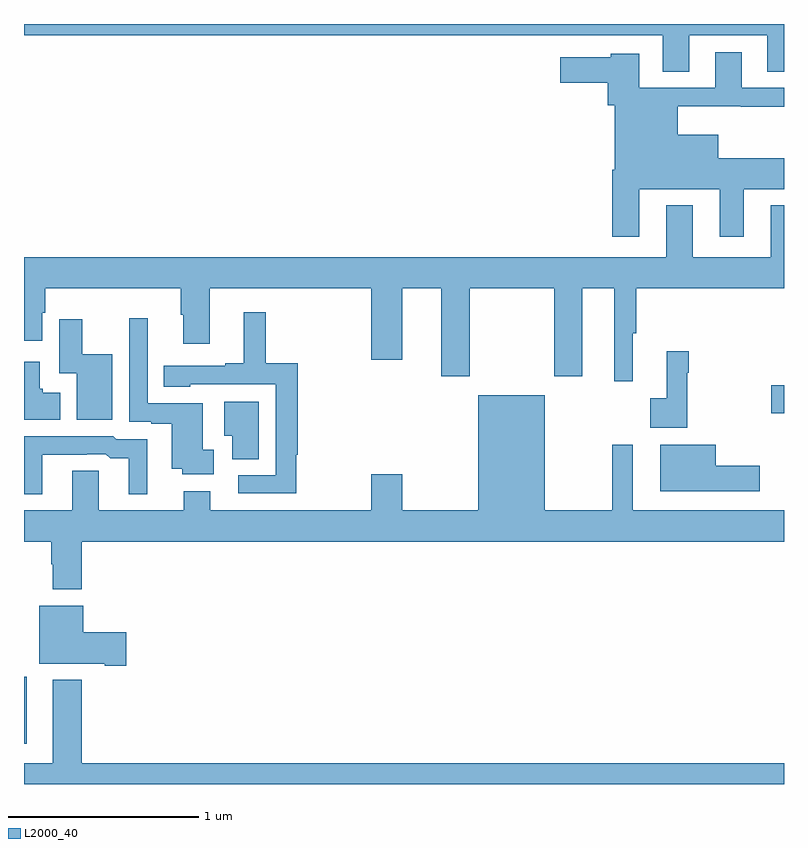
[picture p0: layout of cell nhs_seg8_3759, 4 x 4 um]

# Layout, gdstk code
import gdstk
lib = gdstk.Library(unit=1e-6, precision=1e-09)
def R(c, l, rs):  # rectangles x0, y0, x1, y1
    for r in rs: c.add(gdstk.rectangle(r[:2], r[2:], *l))
def P(c, l, *ps):  # polygons
    for p in ps: c.add(gdstk.Polygon(p, *l))
L2000_40 = (2000, 40)

nhs_seg8_3759 = lib.new_cell('nhs_seg8_3759')
R(nhs_seg8_3759, L2000_40, [(343,1106.112,343.015,1106.464), (346.932,1107.851,347,1107.998)])
P(nhs_seg8_3759, L2000_40, [(346.501,1109.84),(346.913,1109.84),(346.913,1109.65),(347,1109.65),(347,1109.9),(343,1109.9),(343,1109.84),(346.361,1109.84),(346.361,1109.65),(346.501,1109.65)],
  [(346.237,1109.03),(346.661,1109.03),(346.661,1108.779),(346.789,1108.779),(346.789,1109.03),(347,1109.03),(347,1109.194),(346.654,1109.194),(346.654,1109.317),(346.441,1109.317),(346.441,1109.468),(346.773,1109.468),(346.773,1109.464),(347,1109.464),(347,1109.565),(346.777,1109.565),(346.777,1109.752),(346.637,1109.752),(346.637,1109.565),(346.237,1109.565),(346.237,1109.743),(346.089,1109.743),(346.089,1109.725),(345.822,1109.725),(345.822,1109.591),(346.073,1109.591),(346.073,1109.472),(346.109,1109.472),(346.109,1109.134),(346.097,1109.134),(346.097,1108.779),(346.237,1108.779)],
  [(346.205,1108.272),(346.223,1108.272),(346.223,1108.508),(347,1108.508),(347,1108.945),(346.931,1108.945),(346.931,1108.672),(346.519,1108.672),(346.519,1108.945),(346.379,1108.945),(346.379,1108.672),(343,1108.672),(343,1108.233),(343.095,1108.233),(343.095,1108.379),(343.111,1108.379),(343.111,1108.508),(343.826,1108.508),(343.826,1108.371),(343.838,1108.371),(343.838,1108.218),(343.978,1108.218),(343.978,1108.508),(344.828,1108.508),(344.828,1108.134),(344.992,1108.134),(344.992,1108.508),(345.197,1108.508),(345.197,1108.047),(345.345,1108.047),(345.345,1108.508),(345.79,1108.508),(345.79,1108.047),(345.937,1108.047),(345.937,1108.508),(346.106,1108.508),(346.106,1108.02),(346.205,1108.02)],
  [(344.434,1107.632),(344.441,1107.632),(344.441,1108.114),(344.273,1108.114),(344.273,1108.384),(344.156,1108.384),(344.156,1108.114),(344.06,1108.114),(344.06,1108.101),(343.735,1108.101),(343.735,1107.992),(343.875,1107.992),(343.875,1108.005),(344.325,1108.005),(344.325,1107.525),(344.127,1107.525),(344.127,1107.429),(344.434,1107.429)],
  [(343.999,1107.66),(343.942,1107.66),(343.942,1107.903),(343.65,1107.903),(343.65,1108.351),(343.554,1108.351),(343.554,1107.807),(343.67,1107.807),(343.67,1107.795),(343.778,1107.795),(343.778,1107.56),(343.832,1107.56),(343.832,1107.53),(343.999,1107.53)],
  [(343.465,1108.162),(343.306,1108.162),(343.306,1108.345),(343.185,1108.345),(343.185,1108.061),(343.277,1108.061),(343.277,1107.818),(343.465,1107.818)],
  [(346.492,1108.064),(346.499,1108.064),(346.499,1108.177),(346.382,1108.177),(346.382,1107.929),(346.296,1107.929),(346.296,1107.776),(346.492,1107.776)],
  [(343.192,1107.958),(343.098,1107.958),(343.098,1107.981),(343.084,1107.981),(343.084,1108.123),(343,1108.123),(343,1107.818),(343.192,1107.818)],
  [(343,1107.176),(343.144,1107.176),(343.144,1107.056),(343.151,1107.056),(343.151,1106.924),(343.304,1106.924),(343.304,1107.176),(347,1107.176),(347,1107.34),(346.204,1107.34),(346.204,1107.685),(346.095,1107.685),(346.095,1107.34),(345.742,1107.34),(345.742,1107.946),(345.392,1107.946),(345.392,1107.34),(344.992,1107.34),(344.992,1107.529),(344.828,1107.529),(344.828,1107.34),(343.981,1107.34),(343.981,1107.442),(343.841,1107.442),(343.841,1107.34),(343.393,1107.34),(343.393,1107.548),(343.253,1107.548),(343.253,1107.34),(343,1107.34)],
  [(344.236,1107.913),(344.054,1107.913),(344.054,1107.734),(344.096,1107.734),(344.096,1107.61),(344.236,1107.61)],
  [(343.096,1107.633),(343.331,1107.633),(343.331,1107.636),(343.431,1107.636),(343.454,1107.614),(343.55,1107.614),(343.55,1107.425),(343.648,1107.425),(343.648,1107.714),(343.485,1107.714),(343.47,1107.729),(343,1107.729),(343,1107.425),(343.096,1107.425)],
  [(346.873,1107.575),(346.642,1107.575),(346.642,1107.685),(346.349,1107.685),(346.349,1107.44),(346.873,1107.44)],
  [(343.537,1106.7),(343.312,1106.7),(343.312,1106.839),(343.079,1106.839),(343.079,1106.534),(343.424,1106.534),(343.424,1106.522),(343.537,1106.522)],
  [(347,1106.008),(343.304,1106.008),(343.304,1106.449),(343.151,1106.449),(343.151,1106.008),(343,1106.008),(343,1105.9),(347,1105.9)])

lib.write_gds('nhs_seg8_3759.gds')
